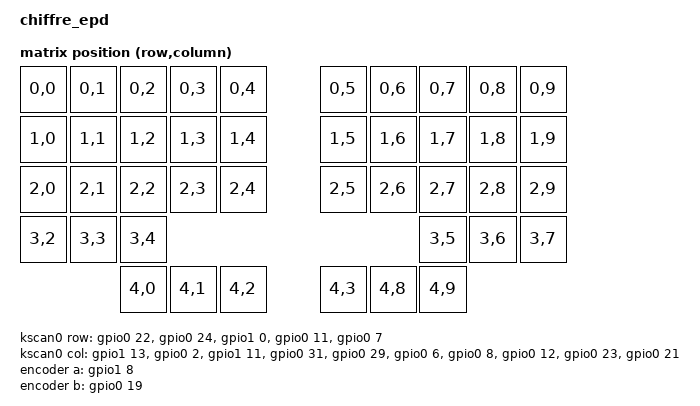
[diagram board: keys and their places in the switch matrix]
/*
 * Copyright (c) 2021 Nick Winans
 *
 * SPDX-License-Identifier: MIT
 */

/dts-v1/;
#include <nordic/nrf52840_qiaa.dtsi>

#include <dt-bindings/led/led.h>
#include <dt-bindings/zmk/matrix_transform.h>

//#include "jm96t-pinctrl.dtsi"

/ {
    model = "chiffre_epd";
    compatible = "chiffre_epd";

    chosen {
        zephyr,display = &epd;
        zephyr,code-partition = &code_partition;
        zephyr,sram = &sram0;
        zephyr,flash = &flash0;
        zephyr,console = &cdc_acm_uart;
        zmk,battery = &vbatt;
        zmk,kscan = &kscan0;
        zmk,matrix_transform = &default_transform;
       zmk,underglow = &led_strip;
    };

   	default_transform: keymap_transform_0 {
		compatible = "zmk,matrix-transform";
		rows = <5>;
		columns = <10>;
		map = <
		RC(0,0) RC(0,1) RC(0,2) RC(0,3) RC(0,4) 		RC(0,5) RC(0,6) RC(0,7) RC(0,8) RC(0,9)
		RC(1,0) RC(1,1) RC(1,2) RC(1,3) RC(1,4) 		RC(1,5) RC(1,6) RC(1,7) RC(1,8) RC(1,9)
		RC(2,0) RC(2,1) RC(2,2) RC(2,3) RC(2,4)	        RC(2,5) RC(2,6) RC(2,7) RC(2,8) RC(2,9)
		 RC(3,2) RC(3,3) RC(3,4) 		RC(3,5) RC(3,6) RC(3,7)
        RC(4,0) RC(4,1) RC(4,2) RC(4,3) RC(4,8) RC(4,9)
		>;
	};


	kscan0: kscan {
		compatible = "zmk,kscan-gpio-matrix";
		label = "KSCAN";

		diode-direction = "col2row";
		col-gpios
			= <&gpio1 13 GPIO_ACTIVE_HIGH>
			, <&gpio0  2 GPIO_ACTIVE_HIGH>
			, <&gpio1 11 GPIO_ACTIVE_HIGH>
			, <&gpio0 31 GPIO_ACTIVE_HIGH>
			, <&gpio0 29 GPIO_ACTIVE_HIGH>
			, <&gpio0 6 GPIO_ACTIVE_HIGH>
			, <&gpio0 8 GPIO_ACTIVE_HIGH>
			, <&gpio0 12 GPIO_ACTIVE_HIGH>
			, <&gpio0 23 GPIO_ACTIVE_HIGH>
			, <&gpio0 21 GPIO_ACTIVE_HIGH>
			;
		row-gpios
			= <&gpio0 22 (GPIO_ACTIVE_HIGH | GPIO_PULL_DOWN)>
			, <&gpio0 24 (GPIO_ACTIVE_HIGH | GPIO_PULL_DOWN)>
			, <&gpio1  0 (GPIO_ACTIVE_HIGH | GPIO_PULL_DOWN)>
			, <&gpio0 11 (GPIO_ACTIVE_HIGH | GPIO_PULL_DOWN)>
            , <&gpio0 7 (GPIO_ACTIVE_HIGH | GPIO_PULL_DOWN)>
			;
	};

    encoder: encoder {
	compatible = "alps,ec11";
		label = "ENCODER";
		a-gpios = <&gpio1 8 (GPIO_ACTIVE_HIGH | GPIO_PULL_UP)>;
		b-gpios = <&gpio0 19 (GPIO_ACTIVE_HIGH | GPIO_PULL_UP)>;
	resolution = <4>;
	status = "okay";
	};

sensors {
		compatible = "zmk,keymap-sensors";
		sensors = <&encoder>;
	};

    // leds {
    //     compatible = "gpio-leds";
    //     blue_led: led_0 {
    //         gpios = <&gpio0 26 GPIO_ACTIVE_HIGH>;
    //         label = "Blue LED";
    //     };
    // };

    ext-power {
        compatible = "zmk,ext-power-generic";
        label = "EXT_POWER";
        control-gpios = <&gpio0 13 GPIO_ACTIVE_LOW>;
        init-delay-ms = <50>;
    };

     vbatt: vbatt {
        compatible = "zmk,battery-nrf-vddh";
    };
};

&adc {
    status = "okay";
};

&gpiote {
    status = "okay";
};

&gpio0 {
    status = "okay";
};

&gpio1 {
    status = "okay";
};

//&i2c0 {
 //   compatible = "nordic,nrf-twi";
//    sda-pin = <17>;
 //   scl-pin = <20>;
//};

   

&usbd {
    status = "okay";
    cdc_acm_uart: cdc_acm_uart {
        compatible = "zephyr,cdc-acm-uart";
        label = "CDC_ACM_0";
    };
};

&flash0 {
    /*
     * For more information, see:
     * http://docs.zephyrproject.org/latest/devices/dts/flash_partitions.html
     */
    partitions {
        compatible = "fixed-partitions";
        #address-cells = <1>;
        #size-cells = <1>;

        sd_partition: partition@0 {
            label = "mbr";
            reg = <0x00000000 0x00001000>;
        };

        code_partition: partition@1000 {
            label = "code_partition";
            reg = <0x00001000 0x000d3000>;
        };

        /*
         * The flash starting at 0x000d4000 and ending at
         * 0x000f3fff is reserved for use by the application.
         */

        /*
         * Storage partition will be used by FCB/LittleFS/NVS
         * if enabled.
         */
        storage_partition: partition@d4000 {
            label = "storage";
            reg = <0x000d4000 0x00020000>;
        };

        boot_partition: partition@f4000 {
            label = "adafruit_boot";
            reg = <0x000f4000 0x0000c000>;
        };
    };
};
&pinctrl {
    spi0_default: spi0_default {
        group1 {
            psels = <NRF_PSEL(SPIM_SCK, 0, 20)>,
                <NRF_PSEL(SPIM_MOSI, 0, 17)>,
                <NRF_PSEL(SPIM_MISO, 0, 26)>;
        };
    };

    spi0_sleep: spi0_sleep {
        group1 {
            psels = <NRF_PSEL(SPIM_SCK, 0, 20)>,
                <NRF_PSEL(SPIM_MOSI, 0, 17)>,
                <NRF_PSEL(SPIM_MISO, 0, 26)>;
            low-power-enable;
        };
    };
     spi3_default: spi3_default {
        group1 {
            psels = <NRF_PSEL(SPIM_MOSI, 1, 15)>; // WS2812_VEXT_DATA
        };
    };

    spi3_sleep: spi3_sleep {
        group1 {
            psels = <NRF_PSEL(SPIM_MOSI, 1, 15)>;
            low-power-enable;
        };
    };
};



&spi0 {
    status = "okay";
    compatible = "nordic,nrf-spim";
    pinctrl-0 = <&spi0_default>;
    pinctrl-1 = <&spi0_sleep>;
    pinctrl-names = "default", "sleep";
    cs-gpios = <&gpio0 10 GPIO_ACTIVE_LOW>;

    epd: il0323@0 {
        compatible = "gooddisplay,il0323";
        reg =  <0>;
        width = <80>;
        height = <128>;
        spi-max-frequency = <4000000>;
        dc-gpios = <&gpio0 9 GPIO_ACTIVE_LOW>;
        busy-gpios = <&gpio1 6 GPIO_ACTIVE_LOW>;
        reset-gpios = <&gpio1 4 GPIO_ACTIVE_LOW>;
        pwr = [03 00 26 26];
        cdi = <0xd2>;
        tcon = <0x22>;
    };
};
&spi3 {
    compatible = "nordic,nrf-spim";
    status = "okay";

    pinctrl-0 = <&spi3_default>;
    pinctrl-1 = <&spi3_sleep>;
    pinctrl-names = "default", "sleep";

    led_strip: ws2812@0 {
        compatible = "worldsemi,ws2812-spi";

        /* SPI */
        reg = <0>; /* ignored, but necessary for SPI bindings */
        spi-max-frequency = <4000000>;

        /* WS2812 */
        chain-length = <10>; /* 6 keys have underglow at the moment */
        spi-one-frame = <0x70>;
        spi-zero-frame = <0x40>;

        color-mapping = <LED_COLOR_ID_GREEN LED_COLOR_ID_RED LED_COLOR_ID_BLUE>;
    };
}; 
